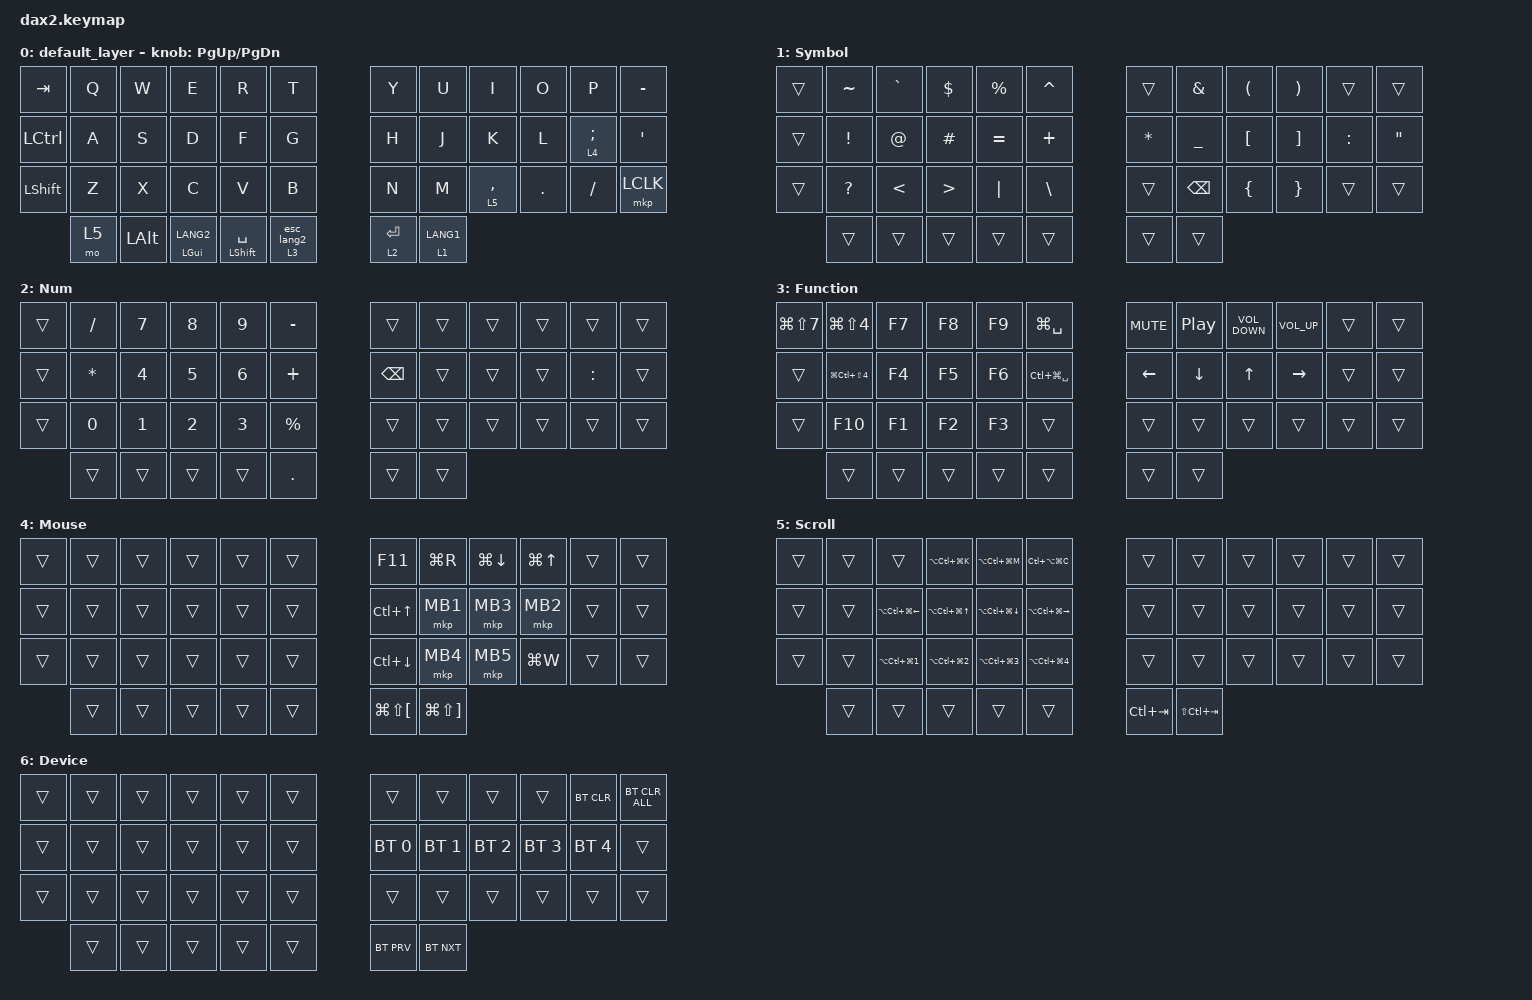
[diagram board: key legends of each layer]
#include <behaviors.dtsi>
#include <dt-bindings/zmk/bt.h>
#include <dt-bindings/zmk/keys.h>
#include <dt-bindings/zmk/pointing.h>

#define MOUSE 4
#define SCROLL 5
#define NUM 6

&mt {
    quick-tap-ms = <0>;
    tapping-term-ms = <150>;
    flavor = "balanced";
};

&lt {
    flavor = "balanced";
    tapping-term-ms = <150>;
    quick-tap-ms = <0>;
};

/ {
    combos {
        compatible = "zmk,combos";

        to_bluetooth {
            bindings = <&mo 6>;
            key-positions = <0 29>;
            layers = <0>;
        };

        kl_scroll {
            bindings = <&mo 5>;
            key-positions = <20 21>;
            layers = <0>;
        };
    };

    macros {
        esc_lang2: esc_lang2 {
            compatible = "zmk,behavior-macro";
            #binding-cells = <0>;
            bindings = <&macro_tap>, <&kp ESCAPE &kp LANG2>;

            label = "ESC_LANG2";
        };
    };

    behaviors {
        esc_lang2_with_layer: esc_lang2_with_layer {
            compatible = "zmk,behavior-hold-tap";
            label = "ESC_LANG2_WITH_LAYER";
            bindings = <&mo>, <&esc_lang2>;

            #binding-cells = <2>;
            tapping-term-ms = <150>;
            flavor = "balanced";
        };
    };

    keymap {
        compatible = "zmk,keymap";

        default_layer {
            bindings = <
&kp TAB         &kp Q  &kp W         &kp E               &kp R                 &kp T                      &kp Y        &kp U        &kp I        &kp O    &kp P            &kp MINUS
&kp LCTRL       &kp A  &kp S         &kp D               &kp F                 &kp G                      &kp H        &kp J        &kp K        &kp L    &lt 4 SEMICOLON  &kp SINGLE_QUOTE
&kp LEFT_SHIFT  &kp Z  &kp X         &kp C               &kp V                 &kp B                      &kp N        &kp M        &lt 5 COMMA  &kp DOT  &kp SLASH        &mkp LCLK
                &mo 5  &kp LEFT_ALT  &mt LEFT_GUI LANG2  &mt LEFT_SHIFT SPACE  &esc_lang2_with_layer 3 0  &lt 2 ENTER  &lt 1 LANG1
            >;

            sensor-bindings = <&inc_dec_kp PG_UP PAGE_DOWN>;
        };

        Symbol {
            bindings = <
&trans  &kp TILDE        &kp GRAVE      &kp DOLLAR        &kp PERCENT  &kp CARET      &trans        &kp AMPERSAND   &kp LEFT_PARENTHESIS  &kp RIGHT_PARENTHESIS  &trans     &trans
&trans  &kp EXCLAMATION  &kp AT         &kp HASH          &kp EQUAL    &kp PLUS       &kp ASTERISK  &kp UNDERSCORE  &kp LEFT_BRACKET      &kp RIGHT_BRACKET      &kp COLON  &kp DOUBLE_QUOTES
&trans  &kp QUESTION     &kp LESS_THAN  &kp GREATER_THAN  &kp PIPE     &kp BACKSLASH  &trans        &kp BACKSPACE   &kp LEFT_BRACE        &kp RIGHT_BRACE        &trans     &trans
        &trans           &trans         &trans            &trans       &trans         &trans        &trans
            >;
        };

        Num {
            bindings = <
&trans  &kp SLASH     &kp N7        &kp N8        &kp N9        &kp MINUS    &trans         &trans  &trans  &trans  &trans     &trans
&trans  &kp ASTERISK  &kp NUMBER_4  &kp N5        &kp NUMBER_6  &kp PLUS     &kp BACKSPACE  &trans  &trans  &trans  &kp COLON  &trans
&trans  &kp N0        &kp NUMBER_1  &kp NUMBER_2  &kp NUMBER_3  &kp PERCENT  &trans         &trans  &trans  &trans  &trans     &trans
        &trans        &trans        &trans        &trans        &kp PERIOD   &trans         &trans
            >;
        };

        Function {
            bindings = <
&kp LG(LS(NUMBER_7))  &kp LG(LS(NUMBER_4))      &kp F7  &kp F8  &kp F9  &kp LG(SPACE)      &kp C_MUTE  &kp C_PLAY_PAUSE  &kp C_VOLUME_DOWN  &kp C_VOLUME_UP  &trans  &trans
&trans                &kp LG(LC(LS(NUMBER_4)))  &kp F4  &kp F5  &kp F6  &kp LC(LG(SPACE))  &kp LEFT    &kp DOWN          &kp UP_ARROW       &kp RIGHT        &trans  &trans
&trans                &kp F10                   &kp F1  &kp F2  &kp F3  &trans             &trans      &trans            &trans             &trans           &trans  &trans
                      &trans                    &trans  &trans  &trans  &trans             &trans      &trans
            >;
        };

        Mouse {
            bindings = <
&trans  &trans  &trans  &trans  &trans  &trans  &kp F11                   &kp LG(R)                  &kp LG(DOWN)  &kp LG(UP_ARROW)  &trans  &trans
&trans  &trans  &trans  &trans  &trans  &trans  &kp LC(UP_ARROW)          &mkp MB1                   &mkp MB3      &mkp MB2          &trans  &trans
&trans  &trans  &trans  &trans  &trans  &trans  &kp LC(DOWN)              &mkp MB4                   &mkp MB5      &kp LG(W)         &trans  &trans
        &trans  &trans  &trans  &trans  &trans  &kp LG(LS(LEFT_BRACKET))  &kp LG(LS(RIGHT_BRACKET))
            >;
        };

        Scroll {
            bindings = <
&trans  &trans  &trans                      &kp LA(LC(LG(K)))         &kp LA(LC(LG(M)))     &kp LC(LA(LG(C)))      &trans       &trans           &trans  &trans  &trans  &trans
&trans  &trans  &kp LA(LC(LG(LEFT_ARROW)))  &kp LA(LC(LG(UP_ARROW)))  &kp LA(LC(LG(DOWN)))  &kp LA(LC(LG(RIGHT)))  &trans       &trans           &trans  &trans  &trans  &trans
&trans  &trans  &kp LA(LC(LG(N1)))          &kp LA(LC(LG(N2)))        &kp LA(LC(LG(N3)))    &kp LA(LC(LG(N4)))     &trans       &trans           &trans  &trans  &trans  &trans
        &trans  &trans                      &trans                    &trans                &trans                 &kp LC(TAB)  &kp LS(LC(TAB))
            >;
        };

        Device {
            bindings = <
&trans  &trans  &trans  &trans  &trans  &trans  &trans        &trans        &trans        &trans        &bt BT_CLR    &bt BT_CLR_ALL
&trans  &trans  &trans  &trans  &trans  &trans  &bt BT_SEL 0  &bt BT_SEL 1  &bt BT_SEL 2  &bt BT_SEL 3  &bt BT_SEL 4  &trans
&trans  &trans  &trans  &trans  &trans  &trans  &trans        &trans        &trans        &trans        &trans        &trans
        &trans  &trans  &trans  &trans  &trans  &bt BT_PRV    &bt BT_NXT
            >;
        };
    };
};
